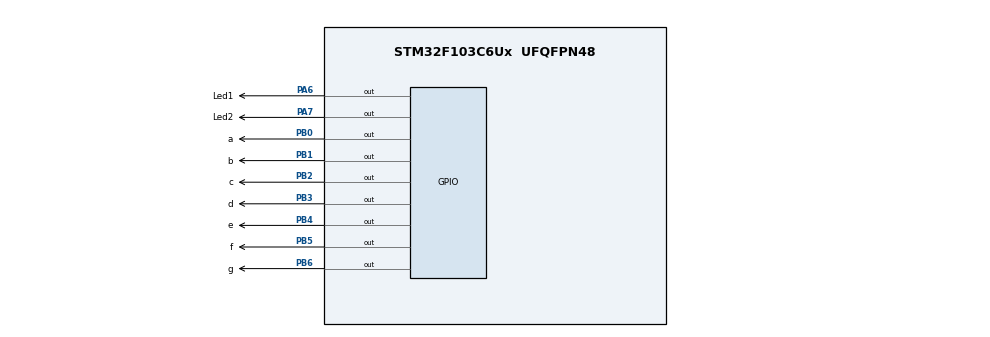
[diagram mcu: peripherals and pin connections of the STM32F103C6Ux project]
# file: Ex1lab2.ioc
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Mcu.Family=STM32F1
Mcu.Name=STM32F103C6Ux
Mcu.Package=UFQFPN48
NVIC.PriorityGroup=NVIC_PRIORITYGROUP_4
NVIC.TIM2_IRQn=true\:0\:0\:false\:false\:true\:true\:true
PA6.GPIO_Label=Led1
PA6.Signal=GPIO_Output
PA7.GPIO_Label=Led2
PA7.Signal=GPIO_Output
PB0.GPIO_Label=a
PB0.Signal=GPIO_Output
PB1.GPIO_Label=b
PB1.Signal=GPIO_Output
PB2.GPIO_Label=c
PB2.Signal=GPIO_Output
PB3.GPIO_Label=d
PB3.Signal=GPIO_Output
PB4.GPIO_Label=e
PB4.Signal=GPIO_Output
PB5.GPIO_Label=f
PB5.Signal=GPIO_Output
PB6.GPIO_Label=g
PB6.Signal=GPIO_Output
ProjectManager.HeapSize=0x200
ProjectManager.StackSize=0x400
ProjectManager.TargetToolchain=STM32CubeIDE
RCC.APB1Freq_Value=8000000
RCC.APB2Freq_Value=8000000
TIM2.Period=9
TIM2.Prescaler=7999
VP_SYS_VS_ND.Mode=No_Debug
VP_TIM2_VS_ClockSourceINT.Mode=Internal
board=custom

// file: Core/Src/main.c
/* USER CODE BEGIN Header */
/**
  ******************************************************************************
  * @file           : main.c
  * @brief          : Main program body
  ******************************************************************************
  * @attention
  *
  * <h2><center>&copy; Copyright (c) 2026 STMicroelectronics.
  * All rights reserved.</center></h2>
  *
  * This software component is licensed by ST under BSD 3-Clause license,
  * the "License"; You may not use this file except in compliance with the
  * License. You may obtain a copy of the License at:
  *                        opensource.org/licenses/BSD-3-Clause
  *
  ******************************************************************************
  */
/* USER CODE END Header */
#include "main.h"

TIM_HandleTypeDef htim2;

void SystemClock_Config(void);
static void MX_GPIO_Init(void);
static void MX_TIM2_Init(void);

int main(void)
{

  /* MCU Configuration--------------------------------------------------------*/

  /* Reset of all peripherals, Initializes the Flash interface and the Systick. */
  HAL_Init();

  /* Configure the system clock */
  SystemClock_Config();

  /* Initialize all configured peripherals */
  MX_GPIO_Init();
  MX_TIM2_Init();

  /* Infinite loop */
  /* USER CODE BEGIN WHILE */
  HAL_TIM_Base_Start_IT(&htim2);
  /* USER CODE BEGIN 4 */

  // Biến trạng thái để luân phiên bật LED 1 và LED 2
  int led_index = 0;

  void HAL_TIM_PeriodElapsedCallback(TIM_HandleTypeDef *htim)
  {
      if (htim->Instance == TIM2)
      {
          switch (led_index)
          {
              case 0:
                  HAL_GPIO_WritePin(GPIOA, Led1_Pin | Led2_Pin, GPIO_PIN_RESET);

                  display7SEG(1);
                  HAL_GPIO_WritePin(GPIOA, Led1_Pin, GPIO_PIN_SET);
                  led_index = 1;
                  break;

              case 1:
                  HAL_GPIO_WritePin(GPIOA, Led1_Pin | Led2_Pin, GPIO_PIN_RESET);
                  display7SEG(2);
                  HAL_GPIO_WritePin(GPIOA, Led2_Pin, GPIO_PIN_SET);
                  led_index = 0;
                  break;
          }
      }
  }
  /* USER CODE END 4 */
  while (1)
  {
    /* USER CODE END WHILE */

  }
}

void SystemClock_Config(void)
{
  RCC_OscInitTypeDef RCC_OscInitStruct = {0};
  RCC_ClkInitTypeDef RCC_ClkInitStruct = {0};

  /** Initializes the RCC Oscillators according to the specified parameters
  * in the RCC_OscInitTypeDef structure.
  */
  RCC_OscInitStruct.OscillatorType = RCC_OSCILLATORTYPE_HSI;
  RCC_OscInitStruct.HSIState = RCC_HSI_ON;
  RCC_OscInitStruct.HSICalibrationValue = RCC_HSICALIBRATION_DEFAULT;
  RCC_OscInitStruct.PLL.PLLState = RCC_PLL_NONE;
  if (HAL_RCC_OscConfig(&RCC_OscInitStruct) != HAL_OK)
  {
    Error_Handler();
  }
  /** Initializes the CPU, AHB and APB buses clocks
  */
  RCC_ClkInitStruct.ClockType = RCC_CLOCKTYPE_HCLK|RCC_CLOCKTYPE_SYSCLK
                              |RCC_CLOCKTYPE_PCLK1|RCC_CLOCKTYPE_PCLK2;
  RCC_ClkInitStruct.SYSCLKSource = RCC_SYSCLKSOURCE_HSI;
  RCC_ClkInitStruct.AHBCLKDivider = RCC_SYSCLK_DIV1;
  RCC_ClkInitStruct.APB1CLKDivider = RCC_HCLK_DIV1;
  RCC_ClkInitStruct.APB2CLKDivider = RCC_HCLK_DIV1;

  if (HAL_RCC_ClockConfig(&RCC_ClkInitStruct, FLASH_LATENCY_0) != HAL_OK)
  {
    Error_Handler();
  }
}

static void MX_TIM2_Init(void)
{

  TIM_ClockConfigTypeDef sClockSourceConfig = {0};
  TIM_MasterConfigTypeDef sMasterConfig = {0};

  htim2.Instance = TIM2;
  htim2.Init.Prescaler = 7999;
  htim2.Init.CounterMode = TIM_COUNTERMODE_UP;
  htim2.Init.Period = 9;
  htim2.Init.ClockDivision = TIM_CLOCKDIVISION_DIV1;
  htim2.Init.AutoReloadPreload = TIM_AUTORELOAD_PRELOAD_DISABLE;
  if (HAL_TIM_Base_Init(&htim2) != HAL_OK)
  {
    Error_Handler();
  }
  sClockSourceConfig.ClockSource = TIM_CLOCKSOURCE_INTERNAL;
  if (HAL_TIM_ConfigClockSource(&htim2, &sClockSourceConfig) != HAL_OK)
  {
    Error_Handler();
  }
  sMasterConfig.MasterOutputTrigger = TIM_TRGO_RESET;
  sMasterConfig.MasterSlaveMode = TIM_MASTERSLAVEMODE_DISABLE;
  if (HAL_TIMEx_MasterConfigSynchronization(&htim2, &sMasterConfig) != HAL_OK)
  {
    Error_Handler();
  }

}

static void MX_GPIO_Init(void)
{
  GPIO_InitTypeDef GPIO_InitStruct = {0};

  /* GPIO Ports Clock Enable */
  __HAL_RCC_GPIOA_CLK_ENABLE();
  __HAL_RCC_GPIOB_CLK_ENABLE();

  /*Configure GPIO pin Output Level */
  HAL_GPIO_WritePin(GPIOA, Led1_Pin|Led2_Pin, GPIO_PIN_RESET);

  /*Configure GPIO pin Output Level */
  HAL_GPIO_WritePin(GPIOB, a_Pin|b_Pin|c_Pin|d_Pin
                          |e_Pin|f_Pin|g_Pin, GPIO_PIN_RESET);

  /*Configure GPIO pins : Led1_Pin Led2_Pin */
  GPIO_InitStruct.Pin = Led1_Pin|Led2_Pin;
  GPIO_InitStruct.Mode = GPIO_MODE_OUTPUT_PP;
  GPIO_InitStruct.Pull = GPIO_NOPULL;
  GPIO_InitStruct.Speed = GPIO_SPEED_FREQ_LOW;
  HAL_GPIO_Init(GPIOA, &GPIO_InitStruct);

  /*Configure GPIO pins : a_Pin b_Pin c_Pin d_Pin
                           e_Pin f_Pin g_Pin */
  GPIO_InitStruct.Pin = a_Pin|b_Pin|c_Pin|d_Pin
                          |e_Pin|f_Pin|g_Pin;
  GPIO_InitStruct.Mode = GPIO_MODE_OUTPUT_PP;
  GPIO_InitStruct.Pull = GPIO_NOPULL;
  GPIO_InitStruct.Speed = GPIO_SPEED_FREQ_LOW;
  HAL_GPIO_Init(GPIOB, &GPIO_InitStruct);

}

/* USER CODE BEGIN 4 */

  // Biến trạng thái để luân phiên bật LED 1 và LED 2
  int led_index = 0;

  void HAL_TIM_PeriodElapsedCallback(TIM_HandleTypeDef *htim)
  {
      if (htim->Instance == TIM2)
      {
          switch (led_index)
          {
              case 0:
                  HAL_GPIO_WritePin(GPIOA, Led1_Pin | Led2_Pin, GPIO_PIN_RESET);

                  display7SEG(1);
                  HAL_GPIO_WritePin(GPIOA, Led1_Pin, GPIO_PIN_SET);
                  led_index = 1;
                  break;

              case 1:
                  HAL_GPIO_WritePin(GPIOA, Led1_Pin | Led2_Pin, GPIO_PIN_RESET);
                  display7SEG(2);
                  HAL_GPIO_WritePin(GPIOA, Led2_Pin, GPIO_PIN_SET);
                  led_index = 0;
                  break;
          }
      }
  }
/* USER CODE END 4 */

void Error_Handler(void)
{
  __disable_irq();
  while (1)
  {
  }
}

/************************ (C) COPYRIGHT STMicroelectronics *****END OF FILE****/
